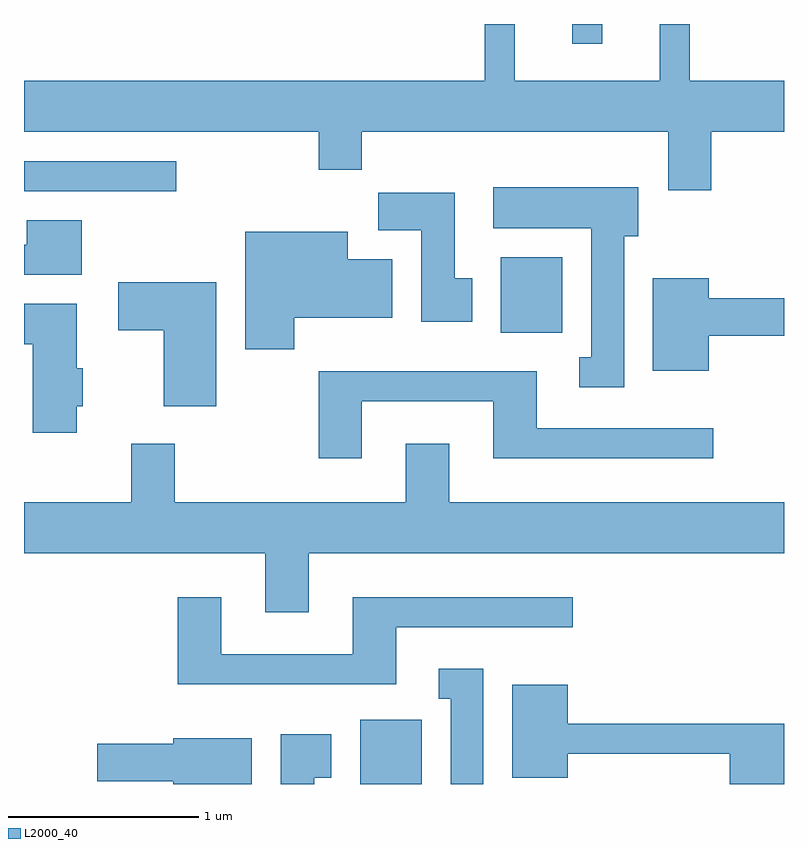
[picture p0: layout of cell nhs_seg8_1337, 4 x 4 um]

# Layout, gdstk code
import gdstk
lib = gdstk.Library(unit=1e-6, precision=1e-09)
def R(c, l, rs):  # rectangles x0, y0, x1, y1
    for r in rs: c.add(gdstk.rectangle(r[:2], r[2:], *l))
def P(c, l, *ps):  # polygons
    for p in ps: c.add(gdstk.Polygon(p, *l))
L2000_40 = (2000, 40)

nhs_seg8_1337 = lib.new_cell('nhs_seg8_1337')
R(nhs_seg8_1337, L2000_40, [(227.381,1806.342,227.704,1806.679), (228.121,1808.716,228.444,1809.114), (225.611,1809.461,226.413,1809.619), (228.496,1810.238,228.654,1810.342)])
P(nhs_seg8_1337, L2000_40, [(229.229,1809.776),(229.611,1809.776),(229.611,1810.044),(229.114,1810.044),(229.114,1810.342),(228.956,1810.342),(228.956,1810.044),(228.194,1810.044),(228.194,1810.342),(228.036,1810.342),(228.036,1810.044),(225.611,1810.044),(225.611,1809.776),(227.161,1809.776),(227.161,1809.576),(227.389,1809.576),(227.389,1809.776),(229.001,1809.776),(229.001,1809.466),(229.229,1809.466)],
  [(228.769,1809.226),(228.844,1809.226),(228.844,1809.484),(228.081,1809.484),(228.081,1809.266),(228.596,1809.266),(228.596,1808.589),(228.533,1808.589),(228.533,1808.431),(228.769,1808.431)],
  [(227.969,1809.004),(227.879,1809.004),(227.879,1809.454),(227.476,1809.454),(227.476,1809.256),(227.701,1809.256),(227.701,1808.776),(227.969,1808.776)],
  [(225.914,1809.309),(225.626,1809.309),(225.626,1809.179),(225.611,1809.179),(225.611,1809.021),(225.914,1809.021)],
  [(227.034,1808.796),(227.549,1808.796),(227.549,1809.104),(227.314,1809.104),(227.314,1809.249),(226.776,1809.249),(226.776,1808.631),(227.034,1808.631)],
  [(229.214,1808.701),(229.611,1808.701),(229.611,1808.899),(229.214,1808.899),(229.214,1809.004),(228.921,1809.004),(228.921,1808.516),(229.214,1808.516)],
  [(226.624,1808.984),(226.106,1808.984),(226.106,1808.731),(226.346,1808.731),(226.346,1808.331),(226.624,1808.331)],
  [(225.889,1808.331),(225.919,1808.331),(225.919,1808.529),(225.889,1808.529),(225.889,1808.869),(225.611,1808.869),(225.611,1808.656),(225.656,1808.656),(225.656,1808.191),(225.889,1808.191)],
  [(227.389,1808.356),(228.081,1808.356),(228.081,1808.056),(229.238,1808.056),(229.238,1808.214),(228.309,1808.214),(228.309,1808.514),(227.161,1808.514),(227.161,1808.056),(227.389,1808.056)],
  [(227.109,1807.556),(229.611,1807.556),(229.611,1807.824),(227.849,1807.824),(227.849,1808.134),(227.621,1808.134),(227.621,1807.824),(226.404,1807.824),(226.404,1808.134),(226.176,1808.134),(226.176,1807.824),(225.611,1807.824),(225.611,1807.556),(226.881,1807.556),(226.881,1807.246),(227.109,1807.246)],
  [(227.569,1807.166),(228.498,1807.166),(228.498,1807.324),(227.341,1807.324),(227.341,1807.024),(226.649,1807.024),(226.649,1807.324),(226.421,1807.324),(226.421,1806.866),(227.569,1806.866)],
  [(228.029,1806.949),(227.793,1806.949),(227.793,1806.791),(227.856,1806.791),(227.856,1806.342),(228.029,1806.342)],
  [(229.611,1806.659),(228.474,1806.659),(228.474,1806.864),(228.181,1806.864),(228.181,1806.376),(228.474,1806.376),(228.474,1806.501),(229.326,1806.501),(229.326,1806.342),(229.611,1806.342)],
  [(227.139,1806.376),(227.229,1806.376),(227.229,1806.604),(226.961,1806.604),(226.961,1806.342),(227.139,1806.342)],
  [(226.809,1806.584),(226.396,1806.584),(226.396,1806.554),(225.996,1806.554),(225.996,1806.356),(226.396,1806.356),(226.396,1806.342),(226.809,1806.342)])

lib.write_gds('nhs_seg8_1337.gds')
